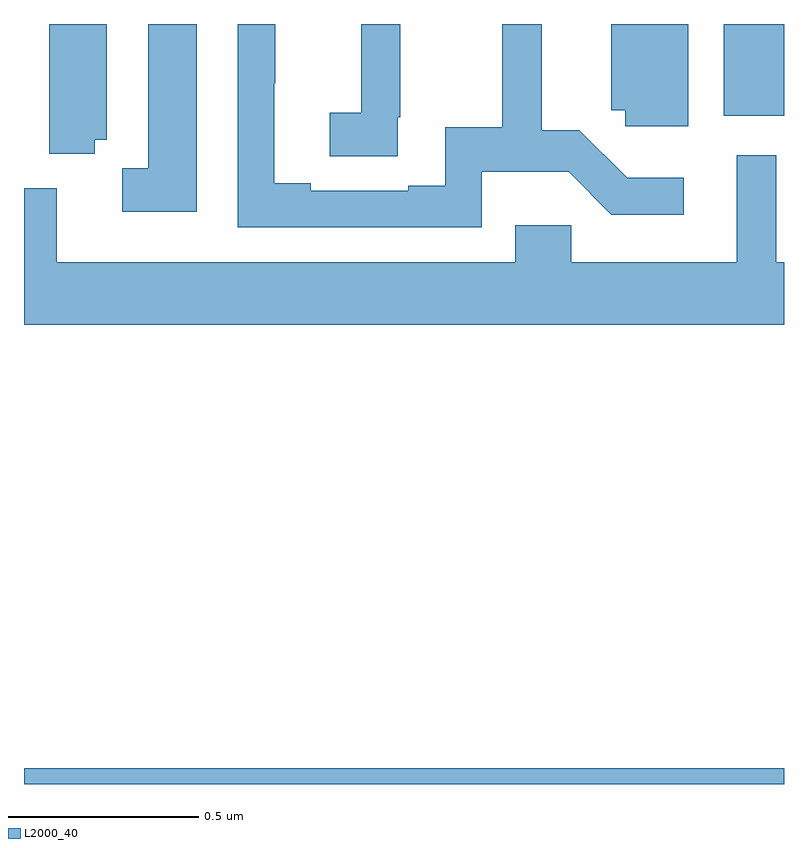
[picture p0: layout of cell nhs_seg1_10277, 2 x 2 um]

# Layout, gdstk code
import gdstk
lib = gdstk.Library(unit=1e-6, precision=1e-09)
def R(c, l, rs):  # rectangles x0, y0, x1, y1
    for r in rs: c.add(gdstk.rectangle(r[:2], r[2:], *l))
def P(c, l, *ps):  # polygons
    for p in ps: c.add(gdstk.Polygon(p, *l))
L2000_40 = (2000, 40)

nhs_seg1_10277 = lib.new_cell('nhs_seg1_10277')
R(nhs_seg1_10277, L2000_40, [(239,541.199,241,541.24), (240.842,542.957,241,543.199)])
P(nhs_seg1_10277, L2000_40, [(239.186,542.894),(239.218,542.894),(239.218,543.199),(239.066,543.199),(239.066,542.857),(239.186,542.857)],
  [(239.455,543.199),(239.327,543.199),(239.327,542.82),(239.259,542.82),(239.259,542.705),(239.455,542.705)],
  [(240.748,543.199),(240.545,543.199),(240.545,542.972),(240.582,542.972),(240.582,542.93),(240.748,542.93)],
  [(239.984,542.953),(239.99,542.953),(239.99,543.199),(239.887,543.199),(239.887,542.966),(239.805,542.966),(239.805,542.851),(239.984,542.851)],
  [(240.204,542.81),(240.433,542.81),(240.546,542.697),(240.736,542.697),(240.736,542.794),(240.587,542.794),(240.461,542.92),(240.362,542.92),(240.362,543.199),(240.259,543.199),(240.259,542.927),(240.108,542.927),(240.108,542.774),(240.011,542.774),(240.011,542.76),(239.755,542.76),(239.755,542.78),(239.659,542.78),(239.659,543.043),(239.661,543.043),(239.661,543.199),(239.562,543.199),(239.562,542.664),(240.204,542.664)],
  [(241,542.572),(240.979,542.572),(240.979,542.854),(240.875,542.854),(240.875,542.572),(240.44,542.572),(240.44,542.67),(240.293,542.67),(240.293,542.572),(239.086,542.572),(239.086,542.767),(239,542.767),(239,542.408),(241,542.408)])

lib.write_gds('nhs_seg1_10277.gds')
